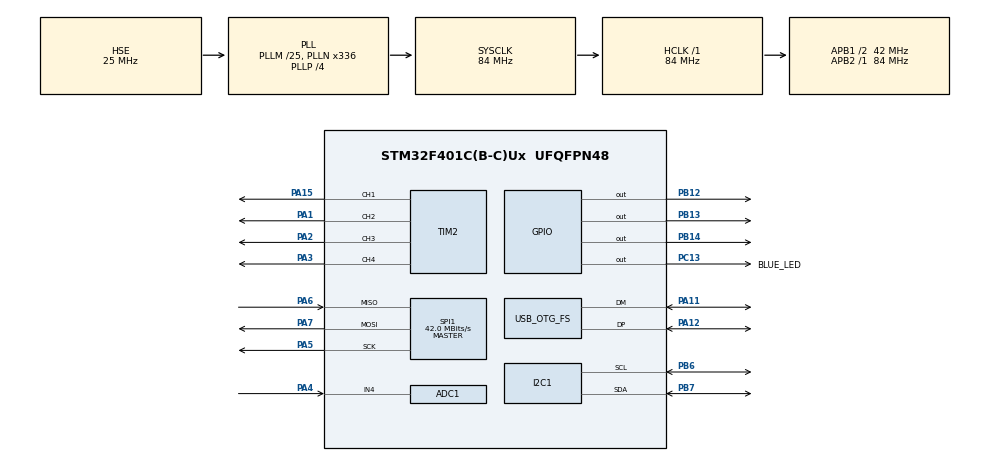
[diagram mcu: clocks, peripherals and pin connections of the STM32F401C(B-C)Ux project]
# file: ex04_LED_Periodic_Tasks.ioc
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ADC1.Channel-2\#ChannelRegularConversion=ADC_CHANNEL_4
ADC1.NbrOfConversionFlag=1
ADC1.Rank-2\#ChannelRegularConversion=1
ADC1.SamplingTime-2\#ChannelRegularConversion=ADC_SAMPLETIME_3CYCLES
ADC1.master=1
Mcu.Family=STM32F4
Mcu.Name=STM32F401C(B-C)Ux
Mcu.Package=UFQFPN48
NVIC.OTG_FS_IRQn=true\:0\:0\:true\:false\:true\:false\:true\:true
NVIC.PriorityGroup=NVIC_PRIORITYGROUP_4
NVIC.TIM1_UP_TIM10_IRQn=true\:15\:0\:false\:false\:true\:false\:true\:true
NVIC.TimeBase=TIM1_UP_TIM10_IRQn
NVIC.TimeBaseIP=TIM1
PA1.Signal=S_TIM2_CH2
PA11.Mode=Device_Only
PA11.Signal=USB_OTG_FS_DM
PA12.Mode=Device_Only
PA12.Signal=USB_OTG_FS_DP
PA13.Mode=Trace_Asynchronous_SW
PA13.Signal=SYS_JTMS-SWDIO
PA14.Mode=Trace_Asynchronous_SW
PA14.Signal=SYS_JTCK-SWCLK
PA15.Signal=S_TIM2_CH1_ETR
PA2.Signal=S_TIM2_CH3
PA3.Signal=S_TIM2_CH4
PA4.Signal=ADCx_IN4
PA5.Mode=Full_Duplex_Master
PA5.Signal=SPI1_SCK
PA6.Mode=Full_Duplex_Master
PA6.Signal=SPI1_MISO
PA7.Mode=Full_Duplex_Master
PA7.Signal=SPI1_MOSI
PB12.PinState=GPIO_PIN_SET
PB12.Signal=GPIO_Output
PB13.PinState=GPIO_PIN_SET
PB13.Signal=GPIO_Output
PB14.PinState=GPIO_PIN_SET
PB14.Signal=GPIO_Output
PB3.Mode=Trace_Asynchronous_SW
PB3.Signal=SYS_JTDO-SWO
PB6.Mode=I2C
PB6.Signal=I2C1_SCL
PB7.Mode=I2C
PB7.Signal=I2C1_SDA
PC13-ANTI_TAMP.GPIO_Label=BLUE_LED
PC13-ANTI_TAMP.PinState=GPIO_PIN_SET
PC13-ANTI_TAMP.Signal=GPIO_Output
PC14-OSC32_IN.Mode=LSE-External-Oscillator
PC14-OSC32_IN.Signal=RCC_OSC32_IN
PC15-OSC32_OUT.Mode=LSE-External-Oscillator
PC15-OSC32_OUT.Signal=RCC_OSC32_OUT
PH0\ -\ OSC_IN.Mode=HSE-External-Oscillator
PH0\ -\ OSC_IN.Signal=RCC_OSC_IN
PH1\ -\ OSC_OUT.Mode=HSE-External-Oscillator
PH1\ -\ OSC_OUT.Signal=RCC_OSC_OUT
ProjectManager.HeapSize=0x200
ProjectManager.StackSize=0x400
ProjectManager.TargetToolchain=STM32CubeIDE
RCC.48MHZClocksFreq_Value=48000000
RCC.AHBFreq_Value=84000000
RCC.APB1CLKDivider=RCC_HCLK_DIV2
RCC.APB1Freq_Value=42000000
RCC.APB1TimFreq_Value=84000000
RCC.APB2Freq_Value=84000000
RCC.APB2TimFreq_Value=84000000
RCC.CortexFreq_Value=84000000
RCC.HCLKFreq_Value=84000000
RCC.HSE_VALUE=25000000
RCC.HSI_VALUE=16000000
RCC.PLLM=25
RCC.PLLN=336
RCC.PLLP=RCC_PLLP_DIV4
RCC.PLLQ=7
RCC.SYSCLKFreq_VALUE=84000000
RCC.SYSCLKSource=RCC_SYSCLKSOURCE_PLLCLK
RCC.VCOOutputFreq_Value=336000000
SH.ADCx_IN4.0=ADC1_IN4,IN4
SH.S_TIM2_CH1_ETR.0=TIM2_CH1,PWM Generation1 CH1
SH.S_TIM2_CH2.0=TIM2_CH2,PWM Generation2 CH2
SH.S_TIM2_CH3.0=TIM2_CH3,PWM Generation3 CH3
SH.S_TIM2_CH4.0=TIM2_CH4,PWM Generation4 CH4
SPI1.BaudRatePrescaler=SPI_BAUDRATEPRESCALER_2
SPI1.CalculateBaudRate=42.0 MBits/s
SPI1.Direction=SPI_DIRECTION_2LINES
SPI1.Mode=SPI_MODE_MASTER
SPI1.VirtualType=VM_MASTER
TIM2.Channel-PWM\ Generation1\ CH1=TIM_CHANNEL_1
TIM2.Channel-PWM\ Generation2\ CH2=TIM_CHANNEL_2
TIM2.Channel-PWM\ Generation3\ CH3=TIM_CHANNEL_3
TIM2.Channel-PWM\ Generation4\ CH4=TIM_CHANNEL_4
USB_DEVICE.CLASS_NAME_FS=CDC
USB_DEVICE.VirtualMode=Cdc
USB_DEVICE.VirtualModeFS=Cdc_FS
USB_OTG_FS.VirtualMode=Device_Only
VP_SYS_VS_tim1.Mode=TIM1
VP_USB_DEVICE_VS_USB_DEVICE_CDC_FS.Mode=CDC_FS
board=custom

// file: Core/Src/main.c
/* USER CODE BEGIN Header */
/**
  ******************************************************************************
  * @file           : main.c
  * @brief          : Main program body
  ******************************************************************************
  * @attention
  *
  * Copyright (c) 2022 STMicroelectronics.
  * All rights reserved.
  *
  * This software is licensed under terms that can be found in the LICENSE file
  * in the root directory of this software component.
  * If no LICENSE file comes with this software, it is provided AS-IS.
  *
  ******************************************************************************
  */
/* USER CODE END Header */
#include "main.h"
#include "adc.h"
#include "i2c.h"
#include "spi.h"
#include "tim.h"
#include "usb_device.h"
#include "gpio.h"

/* USER CODE BEGIN Includes */
#include "dwt_delay.h"
#include "FreeRTOS.h"
#include "task.h"
/* USER CODE END Includes */

/* USER CODE BEGIN PV */
TaskHandle_t task1_handle;
TaskHandle_t task2_handle;
TaskHandle_t task3_handle;
BaseType_t status;
/* USER CODE END PV */

void SystemClock_Config(void);
/* USER CODE BEGIN PFP */
static void led1_handler(void *parameters);
static void led2_handler(void *parameters);
static void led3_handler(void *parameters);
/* USER CODE END PFP */

int main(void)
{

  /* MCU Configuration--------------------------------------------------------*/

  /* Reset of all peripherals, Initializes the Flash interface and the Systick. */
  HAL_Init();

  /* Configure the system clock */
  SystemClock_Config();

  /* Initialize all configured peripherals */
  MX_GPIO_Init();
  MX_ADC1_Init();
  MX_I2C1_Init();
  MX_SPI1_Init();
  MX_TIM2_Init();
  MX_USB_DEVICE_Init();
  /* USER CODE BEGIN 2 */
  vSetVarulMaxPRIGROUPValue();
  DWT_Init();
  SEGGER_UART_init(500000);
  SEGGER_SYSVIEW_Conf();

  status = xTaskCreate(led1_handler, "LED1_task", 200, NULL, 2, &task1_handle);
  configASSERT(status == pdPASS);

  status = xTaskCreate(led2_handler, "LED2_task", 200, NULL, 2, &task2_handle);
  configASSERT(status == pdPASS);

  status = xTaskCreate(led3_handler, "LED3_task", 200, NULL, 2, &task3_handle);
  configASSERT(status == pdPASS);

  vTaskStartScheduler();
  /* USER CODE END 2 */

  /* Infinite loop */
  while (1)
  {

  }
}

void SystemClock_Config(void)
{
  RCC_OscInitTypeDef RCC_OscInitStruct = {0};
  RCC_ClkInitTypeDef RCC_ClkInitStruct = {0};

  /** Configure the main internal regulator output voltage
  */
  __HAL_RCC_PWR_CLK_ENABLE();
  __HAL_PWR_VOLTAGESCALING_CONFIG(PWR_REGULATOR_VOLTAGE_SCALE2);

  /** Initializes the RCC Oscillators according to the specified parameters
  * in the RCC_OscInitTypeDef structure.
  */
  RCC_OscInitStruct.OscillatorType = RCC_OSCILLATORTYPE_HSE;
  RCC_OscInitStruct.HSEState = RCC_HSE_ON;
  RCC_OscInitStruct.PLL.PLLState = RCC_PLL_ON;
  RCC_OscInitStruct.PLL.PLLSource = RCC_PLLSOURCE_HSE;
  RCC_OscInitStruct.PLL.PLLM = 25;
  RCC_OscInitStruct.PLL.PLLN = 336;
  RCC_OscInitStruct.PLL.PLLP = RCC_PLLP_DIV4;
  RCC_OscInitStruct.PLL.PLLQ = 7;
  if (HAL_RCC_OscConfig(&RCC_OscInitStruct) != HAL_OK)
  {
    Error_Handler();
  }

  /** Initializes the CPU, AHB and APB buses clocks
  */
  RCC_ClkInitStruct.ClockType = RCC_CLOCKTYPE_HCLK|RCC_CLOCKTYPE_SYSCLK
                              |RCC_CLOCKTYPE_PCLK1|RCC_CLOCKTYPE_PCLK2;
  RCC_ClkInitStruct.SYSCLKSource = RCC_SYSCLKSOURCE_PLLCLK;
  RCC_ClkInitStruct.AHBCLKDivider = RCC_SYSCLK_DIV1;
  RCC_ClkInitStruct.APB1CLKDivider = RCC_HCLK_DIV2;
  RCC_ClkInitStruct.APB2CLKDivider = RCC_HCLK_DIV1;

  if (HAL_RCC_ClockConfig(&RCC_ClkInitStruct, FLASH_LATENCY_2) != HAL_OK)
  {
    Error_Handler();
  }
}

/* USER CODE BEGIN 4 */
static void led1_handler(void *parameters)
{
	TickType_t last_wakeup_time = xTaskGetTickCount();

	while(1) {
		SEGGER_SYSVIEW_PrintfTarget("Toggling LED1");
		HAL_GPIO_TogglePin(GPIOB, GPIO_PIN_12);
		vTaskDelayUntil(&last_wakeup_time, pdMS_TO_TICKS(1000));
	}
}

static void led2_handler(void *parameters)
{
	TickType_t last_wakeup_time = xTaskGetTickCount();

	while(1) {
		SEGGER_SYSVIEW_PrintfTarget("Toggling LED2");
		HAL_GPIO_TogglePin(GPIOB, GPIO_PIN_13);
		vTaskDelayUntil(&last_wakeup_time, pdMS_TO_TICKS(800));
	}
}

static void led3_handler(void *parameters)
{
	TickType_t last_wakeup_time = xTaskGetTickCount();

	while(1) {
		SEGGER_SYSVIEW_PrintfTarget("Toggling LED3");
		HAL_GPIO_TogglePin(GPIOB, GPIO_PIN_14);
		vTaskDelayUntil(&last_wakeup_time, pdMS_TO_TICKS(400));
	}
}
/* USER CODE END 4 */

void HAL_TIM_PeriodElapsedCallback(TIM_HandleTypeDef *htim)
{
  if (htim->Instance == TIM1) {
    HAL_IncTick();
  }
}

void Error_Handler(void)
{
  __disable_irq();
  while (1)
  {
  }
}
